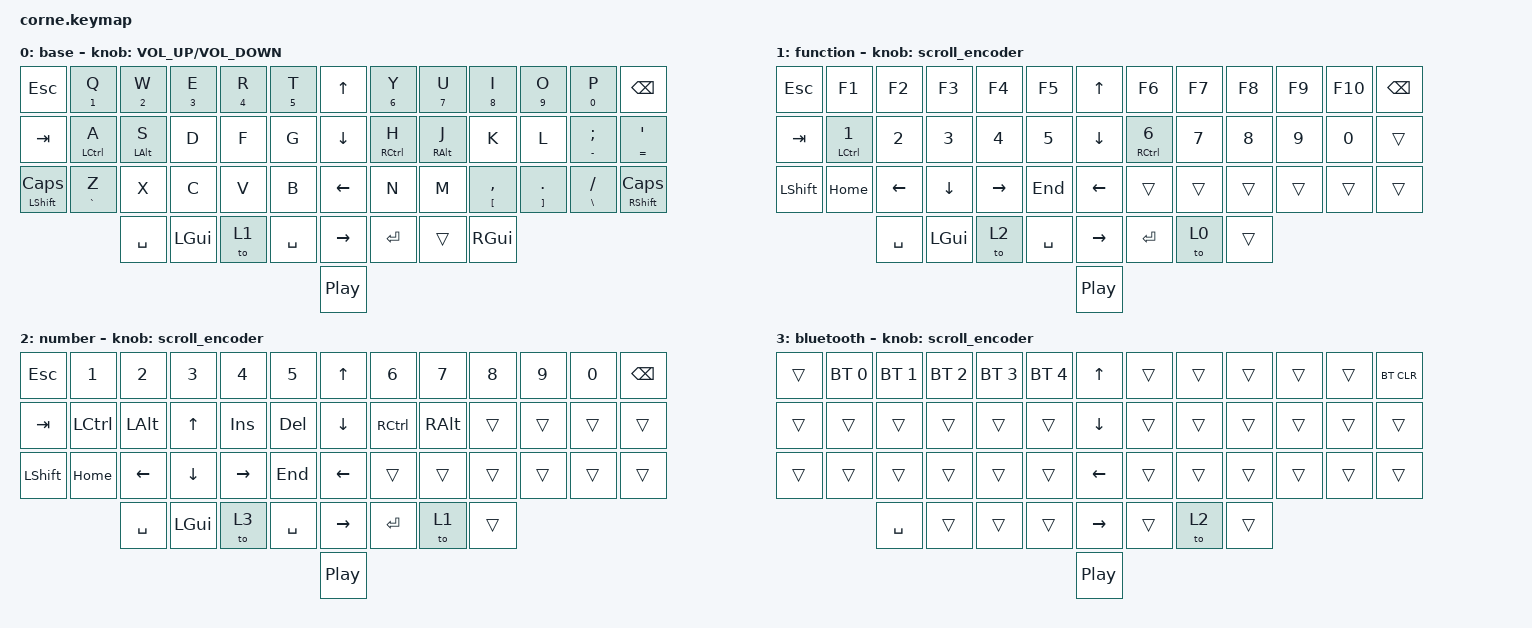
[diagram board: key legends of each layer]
#include <behaviors/mouse_keys.dtsi>
#include <dt-bindings/zmk/mouse.h>
#include <behaviors.dtsi>
#include <dt-bindings/zmk/bt.h>
#include <dt-bindings/zmk/keys.h>
#include <dt-bindings/zmk/rgb.h>

#define ZMK_MOUSE_DEFAULT_MOVE_VAL 1200  // 600
#define ZMK_MOUSE_DEFAULT_SCRL_VAL 20    // 10
#define U_MS_U &mmv MOVE_UP
#define U_MS_D &mmv MOVE_DOWN
#define U_MS_L &mmv MOVE_LEFT
#define U_MS_R &mmv MOVE_RIGHT

/ {
    behaviors {
        td0: td0 {
            compatible = "zmk,behavior-tap-dance";
            label = "TD0";
            #binding-cells = <0>;
            bindings = <&kp LEFT_SHIFT>, <&kp CAPS>;
        };

        mmv {
            acceleration-exponent = <1>;      // 1
            time-to-max-speed-ms = <900>;    // 40
            delay-ms = <0>;                   // 0
        };

        msc {
            acceleration-exponent = <1>;      // 0
            time-to-max-speed-ms = <400>;      // 500
            delay-ms = <0>;                   // 10
        };
    };

    rgb_encoder: rgb_encoder {
        compatible = "zmk,behavior-sensor-rotate";
        label = "RGB_ENCODER";
        #sensor-binding-cells = <0>;
        bindings = <&rgb_ug RGB_BRI>, <&rgb_ug RGB_BRD>;
    };

    scroll_encoder: scroll_encoder {
        compatible = "zmk,behavior-sensor-rotate";
        #sensor-binding-cells = <0>;
        bindings = <&msc SCRL_DOWN>, <&msc SCRL_UP>;

        tap-ms = <30>;
    };

    keymap {
        compatible = "zmk,keymap";

        base_layer {
            display-name = "base";
            bindings = <
&kp ESC         &mt N1 Q     &mt N2 W    &mt N3 E  &mt N4 R  &mt N5 T     &kp UP_ARROW     &mt N6 Y     &mt N7 U    &mt N8 I        &mt N9 O      &mt N0 P        &kp BSPC
&kp TAB         &mt LCTRL A  &mt LALT S  &kp D     &kp F     &kp G        &kp DOWN_ARROW   &mt RCTRL H  &mt RALT J  &kp K           &kp L         &mt MINUS SEMI  &mt EQUAL SQT
&mt LSHFT CAPS  &mt GRAVE Z  &kp X       &kp C     &kp V     &kp B        &kp LEFT_ARROW   &kp N        &kp M       &mt LBKT COMMA  &mt RBKT DOT  &mt BSLH FSLH   &mt RSHFT CAPS
                             &kp SPACE   &kp LGUI  &to 1     &kp SPACE    &kp RIGHT_ARROW  &kp ENTER    &trans      &kp RGUI
                                                                          &kp C_PP
            >;

            label = "base";
            sensor-bindings = <&inc_dec_kp C_VOLUME_UP C_VOLUME_DOWN>;
        };

        function_layer {
            display-name = "function";
            bindings = <
&kp ESC    &kp F1              &kp F2          &kp F3          &kp F4           &kp F5       &kp UP_ARROW     &kp F6              &kp F7  &kp F8  &kp F9  &kp F10  &kp BSPC
&kp TAB    &mt LCTRL NUMBER_1  &kp NUMBER_2    &kp NUMBER_3    &kp NUMBER_4     &kp N5       &kp DOWN_ARROW   &mt RCTRL NUMBER_6  &kp N7  &kp N8  &kp N9  &kp N0   &trans
&kp LSHFT  &kp HOME            &kp LEFT_ARROW  &kp DOWN_ARROW  &kp RIGHT_ARROW  &kp END      &kp LEFT_ARROW   &trans              &trans  &trans  &trans  &trans   &trans
                               &kp SPACE       &kp LGUI        &to 2            &kp SPACE    &kp RIGHT_ARROW  &kp ENTER           &to 0   &trans
                                                                                             &kp C_PP
            >;

            label = "function";
            sensor-bindings = <&scroll_encoder>;
        };

        number_layer {
            display-name = "number";
            bindings = <
&kp ESC    &kp N1     &kp N2          &kp N3          &kp N4           &kp N5       &kp UP_ARROW     &kp N6     &kp N7    &kp N8  &kp N9  &kp N0  &kp BSPC
&kp TAB    &kp LCTRL  &kp LALT        &kp UP_ARROW    &kp INS          &kp DEL      &kp DOWN_ARROW   &kp RCTRL  &kp RALT  &trans  &trans  &trans  &trans
&kp LSHFT  &kp HOME   &kp LEFT_ARROW  &kp DOWN_ARROW  &kp RIGHT_ARROW  &kp END      &kp LEFT_ARROW   &trans     &trans    &trans  &trans  &trans  &trans
                      &kp SPACE       &kp LGUI        &to 3            &kp SPACE    &kp RIGHT_ARROW  &kp ENTER  &to 1     &trans
                                                                                    &kp C_PP
            >;

            label = "number";
            sensor-bindings = <&scroll_encoder>;
        };

        bluetooth_layer {
            display-name = "bluetooth";
            bindings = <
&trans  &bt BT_SEL 0  &bt BT_SEL 1  &bt BT_SEL 2  &bt BT_SEL 3  &bt BT_SEL 4    &kp UP_ARROW     &trans  &trans  &trans  &trans  &trans  &bt BT_CLR
&trans  &trans        &trans        &trans        &trans        &trans          &kp DOWN_ARROW   &trans  &trans  &trans  &trans  &trans  &trans
&trans  &trans        &trans        &trans        &trans        &trans          &kp LEFT_ARROW   &trans  &trans  &trans  &trans  &trans  &trans
                      &kp SPACE     &trans        &trans        &trans          &kp RIGHT_ARROW  &trans  &to 2   &trans
                                                                                &kp C_PP
            >;

            label = "bluetooth";
            sensor-bindings = <&scroll_encoder>;
        };
    };
};
